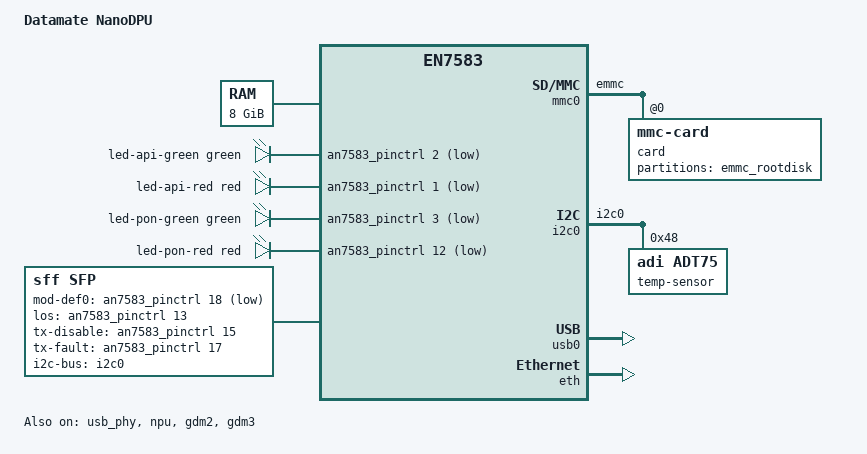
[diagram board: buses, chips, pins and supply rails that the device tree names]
// SPDX-License-Identifier: (GPL-2.0-only OR BSD-2-Clause)
/dts-v1/;

#include <dt-bindings/leds/common.h>
#include <dt-bindings/gpio/gpio.h>
#include <dt-bindings/input/input.h>
#include "an7583.dtsi"

/ {
	model = "Datamate NanoDPU";
	compatible = "datamate,nanoDPU", "airoha,an7583", "airoha,en7583";

	aliases {
		serial0 = &uart1;
	};

	chosen {
		bootargs = "console=ttyS0,115200 earlycon root=/dev/fit0 rootwait";
		rootdisk = <&emmc_rootdisk>;
		stdout-path = "serial0:115200n8";
	};

	memory@80000000 {
		device_type = "memory";
		reg = <0x0 0x80000000 0x2 0x00000000>;
	};

	leds {
		compatible = "gpio-leds";

		led-api-green {
			color = <LED_COLOR_ID_GREEN>;
			function = "api";
			gpios = <&an7583_pinctrl 2 GPIO_ACTIVE_LOW>;
		};

		led-api-red {
			color = <LED_COLOR_ID_RED>;
			function = "api";
			gpios = <&an7583_pinctrl 1 GPIO_ACTIVE_LOW>;
		};

		led-pon-green {
			color = <LED_COLOR_ID_GREEN>;
			function = "pon";
			gpios = <&an7583_pinctrl 3 GPIO_ACTIVE_LOW>;
		};

		led-pon-red {
			color = <LED_COLOR_ID_RED>;
			function = "pon";
			gpios = <&an7583_pinctrl 12 GPIO_ACTIVE_LOW>;
		};
	};

	sfp: sfp {
		compatible = "sff,sfp";

		i2c-bus = <&i2c0>;

		mod-def0-gpios = <&an7583_pinctrl 18 GPIO_ACTIVE_LOW>;
		los-gpios = <&an7583_pinctrl 13 GPIO_ACTIVE_HIGH>;
		tx-disable-gpios = <&an7583_pinctrl 15 GPIO_ACTIVE_HIGH>;
		tx-fault-gpios = <&an7583_pinctrl 17 GPIO_ACTIVE_HIGH>;
	};
};

&an7583_pinctrl {
	gpio-ranges = <&an7583_pinctrl 0 2 53>;

	i2c0_pins: i2c0-pins {
		mux {
			function = "i2c";
			groups = "i2c0";
		};
	};

	mmc_pins: mmc-pins {
		mux {
			function = "emmc";
			groups = "emmc";
		};
	};
};

&mmc0 {
	pinctrl-names = "default", "state_uhs";
	pinctrl-0 = <&mmc_pins>;
	pinctrl-1 = <&mmc_pins>;
	status = "okay";

	#address-cells = <1>;
	#size-cells = <0>;

	card@0 {
		compatible = "mmc-card";
		reg = <0>;

		block {
			compatible = "block-device";

			partitions {
				emmc_rootdisk: block-partition-production {
					partname = "production";
				};
			};
		};
	};
};

&i2c0 {
	pinctrl-names = "default";
	pinctrl-0 = <&i2c0_pins>;
	status = "okay";

	temp-sensor@48 {
		compatible = "adi,adt75";
		reg = <0x48>;
		#thermal-sensor-cells = <0>;
	};
};

&usb_phy {
	status = "okay";
};

&usb0 {
	status = "okay";
};

&npu {
	status = "okay";
};

&eth {
	status = "okay";
};

&gdm2 {
	status = "okay";

	sfp = <&sfp>;

	managed = "in-band-status";
	phy-mode = "sgmii";
};

&gdm3 {
	status = "okay";
	managed = "in-band-status";
	phy-mode = "2500base-x";
};
